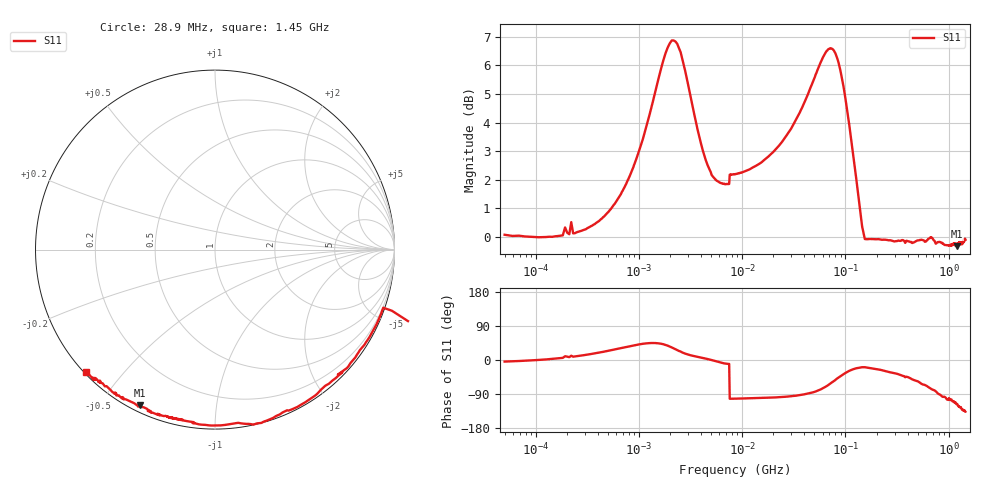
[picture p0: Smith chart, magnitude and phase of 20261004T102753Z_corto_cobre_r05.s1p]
! piloto_corto / corto_cobre / r05
# HZ S RI R 50
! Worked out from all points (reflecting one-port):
!   501 points, 50 kHz to 1.45 GHz, reference 50 ohm
!   lowest |S11| = -0.3 dB at 1.202 GHz (marker M1), VSWR 54.41, Z = 1.28 - j31.4 ohm
!   phase of S11 starts at -4 deg and turns -132 deg over the sweep
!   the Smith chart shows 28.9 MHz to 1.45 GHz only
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50000  1.007 -0.0733
183000  1.002 0.0985
354000  1.005 0.2956
658000  1.015 0.6084
1180000  1.124 1.081
1630000  1.435 1.339
1990000  1.774 1.266
2440000  1.955 0.8635
3430000  1.613 0.2899
4870000  1.307 0.0234
7300000  1.217 -0.2212
7750000  -0.2727 -1.255
8560000  -0.2685 -1.26
1.72e7  -0.2359 -1.353
3.16e7  -0.1337 -1.571
4.87e7  0.1563 -1.865
6.67e7  0.7998 -1.96
7.66e7  1.175 -1.765
8.92e7  1.438 -1.326
9.82e7  1.451 -1.031
1e8  1.443 -0.978
1.18e8  1.278 -0.5849
1.36e8  1.075 -0.3984
1.63e8  0.9306 -0.3412
4.06e8  0.6882 -0.7016
6.85e8  0.2191 -0.9734
1.2025e9  -0.4189 -0.8681
1.45e9  -0.7166 -0.6809
